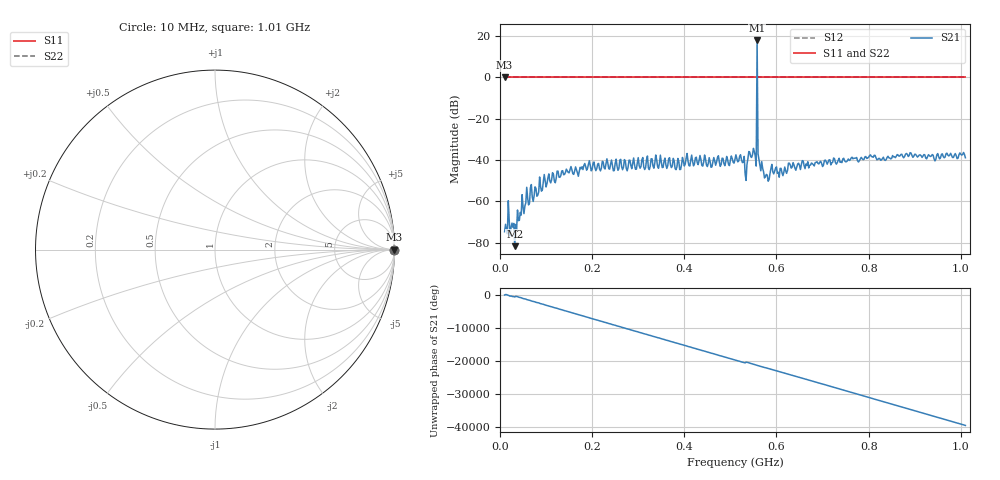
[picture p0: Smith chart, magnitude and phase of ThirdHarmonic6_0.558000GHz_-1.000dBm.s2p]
! 8/15/2025 5:46:21 PM
! C:\ANRITSUVNA\TEMP\TEMP.S2P
! CHANNEL.1
! TR.MEASUREMENT
! RAW.DATA
! RF.CORRECTION.OFF
! AVERAGING.OFF
! IF.BANDWIDTH: 5KHZ
! SWEEPTYPE:  FREQ.SWEEP(Linear)
! Reference Plane Port Info
! PORT:  PORT1  PORT2
! DISTANCE:  0  m  0  m
! TIME:  0  s  0  s
! PHASE.OFFSET:  0  deg.  0  deg.
! LOSS:  0  dB  0  dB
! REF.LOSS:  0  dB  0  dB
! REF.FREQ:  0  Hz  0  Hz
! Power Info
! POWER:  -20  dBm  -20  dBm
! EFF.POWER:  -20  dBm  -20  dBm
! SOURCE.ATTEN:  0  dB  0  dB
! TEST.ATTEN:  0  dB  0  dB
# GHZ S RI R 50.0
! FREQ.GHZ  S11RE  S11IM  S21RE  S21IM  S12RE  S12IM  S22RE  S22IM
!; PortSelection: Port_12
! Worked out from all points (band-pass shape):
!   501 points, 10 MHz to 1.01 GHz, reference 50 ohm
!   highest |S21| = 17.70 dB at 558 MHz (marker M1); lowest = -81.6 dB at 32 MHz (marker M2)
!   |S21| within 3 dB of the highest: 557.9011 MHz to 558.1095 MHz (208.5 kHz wide, 0.0374 % of centre)
!   lowest |S11| = 0.0 dB at 10 MHz (marker M3)
!   |S11| at or under -10 dB: nowhere
!   |S22| runs from 0.0 to 0.0 dB; largest |S21 - S12| = 7.5
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0.01  1 0  0.000103 -0.000153  1 0  1 0
0.022  1 0  3.46e-05 -0.000146  1 0  1 0
0.032  1 0  5.13e-05 6.51e-05  1 0  1 0
0.046  1 0  -0.000452 -0.000109  1 0  1 0
0.062  1 0  -0.000721 -0.000396  1 0  1 0
0.11  1 0  0.0018 0.00214  1 0  1 0
0.178  1 0  -0.00682 0.000825  1 0  1 0
0.344  1 0  0.00536 -0.00329  1 0  1 0
0.51  1 0  -0.00831 0.00627  1 0  1 0
0.526  1 0  -0.00806 -0.00312  1 0  1 0
0.532  1 0  0.00449 -0.000805  1 0  1 0
0.542  1 0  -0.00145 -0.0153  1 0  1 0
0.552  1 0  -0.0145 -0.00656  1 0  1 0
0.554  1 0  -0.00706 0.0101  1 0  1 0
0.558  1 0  2.033 -7.4  1 0  1 0
0.562  1 0  -0.00746 0.00706  1 0  1 0
0.564  1 0  0.00368 0.00645  1 0  1 0
0.58  1 0  -0.0043 -3.6e-05  1 0  1 0
0.592  1 0  0.00262 0.00446  1 0  1 0
0.678  1 0  -0.00477 -0.00655  1 0  1 0
0.844  1 0  0.00908 0.00664  1 0  1 0
1.01  1 0  -0.0113 -0.000747  1 0  1 0
